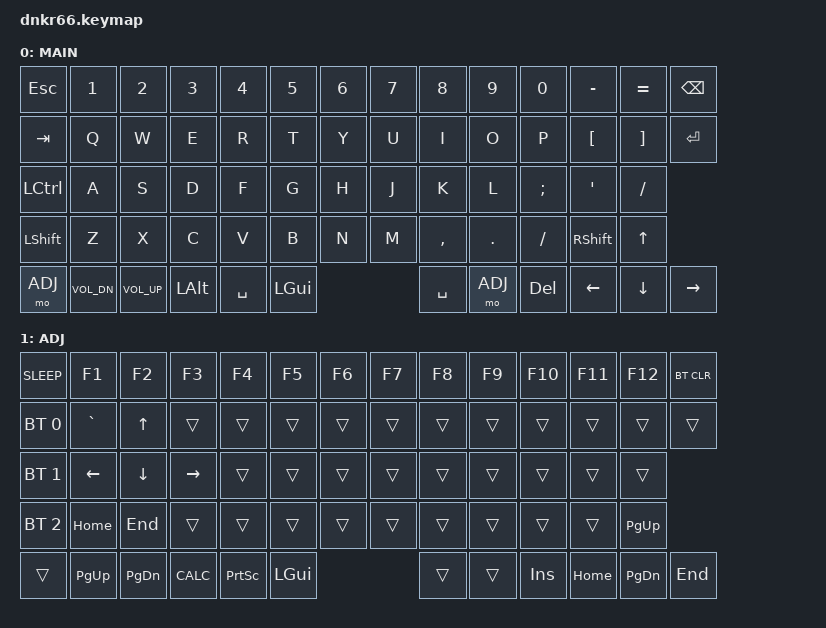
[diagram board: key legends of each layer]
/*
 * Copyright (c) 2022 The ZMK Contributors
 *
 * SPDX-License-Identifier: MIT
 */

#include <behaviors.dtsi>
#include <dt-bindings/zmk/keys.h>
#include <dt-bindings/zmk/bt.h>
#include <dt-bindings/zmk/outputs.h>

#define DEF 0
#define ADJ 1

/ {
        keymap {
                compatible = "zmk,keymap";

                default_layer {
                label = "MAIN";
                        bindings = <
	&kp ESC   &kp NUM_1    &kp NUM_2    &kp NUM_3 &kp NUM_4 &kp NUM_5 &kp NUM_6 &kp NUM_7 &kp NUM_8 &kp NUM_9 &kp NUM_0 &kp MINUS &kp EQL  &kp BKSP
	&kp TAB   &kp Q        &kp W        &kp E     &kp R     &kp T     &kp Y     &kp U     &kp I     &kp O     &kp P     &kp LBKT  &kp RBKT &kp RET
	&kp LCTRL &kp A        &kp S        &kp D     &kp F     &kp G     &kp H     &kp J     &kp K     &kp L     &kp SCLN  &kp QUOT  &kp SLASH
	&kp LSHFT &kp Z        &kp X        &kp C     &kp V     &kp B     &kp N     &kp M     &kp CMMA  &kp DOT   &kp FSLH  &kp RSHFT &kp UP
	&mo ADJ   &kp C_VOL_DN &kp C_VOL_UP &kp LALT  &kp SPC   &kp LGUI  &kp SPC   &mo ADJ   &kp DEL                       &kp LEFT  &kp DOWN  &kp RIGHT
                        >;
                };
                adjust_layer {
                label = "ADJ";
                        bindings = <
    &kp K_SLEEP  &kp F1    &kp F2    &kp F3     &kp F4    &kp F5   &kp F6 &kp F7 &kp F8 &kp F9 &kp F10 &kp F11  &kp F12   &bt BT_CLR
	&bt BT_SEL 0 &kp GRAVE &kp UP    &trans     &trans    &trans   &trans &trans &trans &trans &trans  &trans   &trans    &trans
	&bt BT_SEL 1 &kp LEFT  &kp DOWN  &kp RIGHT  &trans    &trans   &trans &trans &trans &trans &trans  &trans   &trans
	&bt BT_SEL 2 &kp HOME  &kp END   &trans     &trans    &trans   &trans &trans &trans &trans &trans  &trans   &kp PG_UP
	&trans       &kp PG_UP &kp PG_DN &kp K_CALC &kp PSCRN &kp LGUI &trans &trans &kp INS               &kp HOME &kp PG_DN &kp END
                        >;
                };
        };
};
